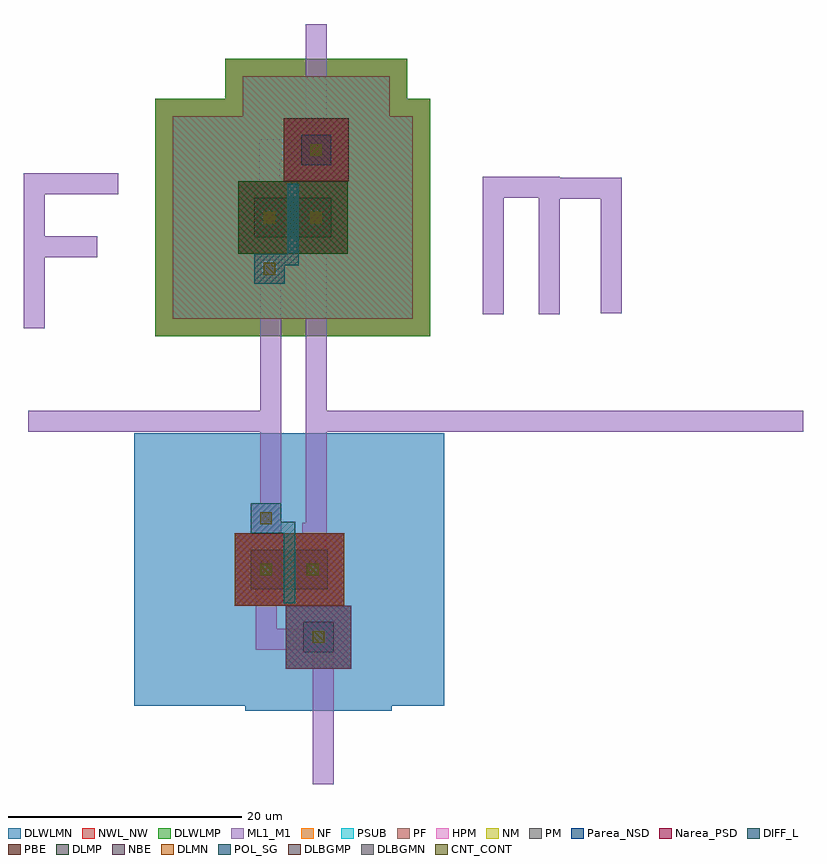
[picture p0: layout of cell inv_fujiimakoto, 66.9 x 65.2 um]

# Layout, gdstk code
import gdstk
lib = gdstk.Library(unit=1e-6, precision=1e-07)
def R(c, l, rs):  # rectangles x0, y0, x1, y1
    for r in rs: c.add(gdstk.rectangle(r[:2], r[2:], *l))
DIFF_L = (3, 0)
NM = (7, 0)
POL_SG = (8, 0)
Narea_PSD = (9, 0)
CNT_CONT = (11, 0)
ML1_M1 = (13, 0)
NF = (25, 0)
PF = (26, 0)
Parea_NSD = (28, 0)
HPM = (33, 0)
PM = (35, 0)
NWL_NW = (36, 0)
PSUB = (140, 0)
PBE = (146, 0)
NBE = (147, 0)
DLWLMP = (150, 0)
DLWLMN = (151, 0)
DLMP = (157, 0)
DLMN = (158, 0)
DLBGMP = (177, 0)
DLBGMN = (178, 0)

dcont = lib.new_cell('dcont')
R(dcont, DIFF_L, [(-1.3,-1.3,1.3,1.3)])
R(dcont, CNT_CONT, [(-0.5,-0.5,0.5,0.5)])
R(dcont, ML1_M1, [(-1.3,-1.3,1.3,1.3), (-0.5,-0.5,0.5,0.5)])

pcont = lib.new_cell('pcont')
R(pcont, POL_SG, [(-1.3,-1.3,1.3,1.3)])
R(pcont, CNT_CONT, [(-0.5,-0.5,0.5,0.5)])
R(pcont, ML1_M1, [(-1.3,-1.3,1.3,1.3), (-0.5,-0.5,0.5,0.5)])

c_dcont = lib.new_cell('DCONT')
R(c_dcont, DIFF_L, [(-1.3,-1.3,1.3,1.3)])
R(c_dcont, CNT_CONT, [(-0.5,-0.5,0.5,0.5)])
R(c_dcont, ML1_M1, [(-1.3,-1.3,1.3,1.3), (-0.5,-0.5,0.5,0.5)])

nsubcont = lib.new_cell('nsubcont')
R(nsubcont, NM, [(-2.8,-2.7,2.8,2.7)])
R(nsubcont, Narea_PSD, [(-2.8,-2.7,2.8,2.7)])
R(nsubcont, NF, [(-6.3,-6.3,6.3,6.3)])
R(nsubcont, PF, [(-6.3,-6.3,6.3,6.3)])
R(nsubcont, HPM, [(-2.8,-2.7,2.8,2.7)])
R(nsubcont, PM, [(-2.8,-2.7,2.8,2.7)])
R(nsubcont, NWL_NW, [(-7.8,-7.8,7.8,7.8)])
R(nsubcont, PSUB, [(-6.3,-6.3,6.3,6.3)])
R(nsubcont, DLWLMP, [(-7.8,-7.8,7.8,7.8)])
R(nsubcont, DLBGMP, [(-2.8,-2.7,2.8,2.7)])
nsubcont.add(gdstk.Reference(c_dcont, (0,0)))

mp_1 = lib.new_cell('MP$1')
R(mp_1, DIFF_L, [(0,3.6,6.6,7)])
R(mp_1, NM, [(-1.4,2.2,8,8.4)])
R(mp_1, NF, [(-7,-3.4,13.6,14)])
R(mp_1, PF, [(-7,-3.4,13.6,14)])
R(mp_1, Parea_NSD, [(-1.4,2.2,8,8.4)])
R(mp_1, HPM, [(-1.4,2.2,8,8.4)])
R(mp_1, NWL_NW, [(-8.5,-4.9,15.1,15.5)])
R(mp_1, PSUB, [(-7,-3.4,13.6,14)])
R(mp_1, PBE, [(-1.4,2.2,8,8.4)])
R(mp_1, DLWLMP, [(-8.5,-4.9,15.1,15.5)])
R(mp_1, DLMP, [(-1.4,2.2,8,8.4)])
mp_1.add(gdstk.FlexPath([(1.3,3.6),(1.3,7)], 2.6, ends="flush", simple_path=True, layer=13, datatype=0))  # ML1_M1
mp_1.add(gdstk.FlexPath([(5.3,3.6),(5.3,7)], 2.6, ends="flush", simple_path=True, layer=13, datatype=0))  # ML1_M1
mp_1.add(gdstk.FlexPath([(1.3,6),(1.3,9.3)], 1.8, ends="flush", simple_path=True, layer=13, datatype=0))  # ML1_M1
mp_1.add(gdstk.FlexPath([(5.3,1.3),(5.3,4.6)], 1.8, ends="flush", simple_path=True, layer=13, datatype=0))  # ML1_M1
mp_1.add(gdstk.FlexPath([(3.3,3.6),(3.3,7)], 1, ends=(1.2, 1.2), simple_path=True, layer=8, datatype=0))  # POL_SG
mp_1.add(gdstk.FlexPath([(1.3,1.7),(3.3,1.7),(3.3,2.4)], 1, ends="flush", simple_path=True, layer=8, datatype=0))  # POL_SG
mp_1.add(gdstk.Reference(dcont, (1.3,5.3)))
mp_1.add(gdstk.Reference(dcont, (5.3,5.3)))
mp_1.add(gdstk.Reference(pcont, (1.3,0.9)))
mp_1.add(gdstk.Reference(nsubcont, (5.3,11.1)))

psubcont = lib.new_cell('psubcont')
R(psubcont, NM, [(-2.8,-2.7,2.8,2.7)])
R(psubcont, Parea_NSD, [(-2.8,-2.7,2.8,2.7)])
R(psubcont, HPM, [(-2.8,-2.7,2.8,2.7)])
R(psubcont, PM, [(-2.8,-2.7,2.8,2.7)])
R(psubcont, DLWLMN, [(-6.3,-6.3,6.3,6.3)])
R(psubcont, DLBGMN, [(-2.8,-2.7,2.8,2.7)])
psubcont.add(gdstk.Reference(c_dcont, (0,0)))

mn_1 = lib.new_cell('MN$1')
R(mn_1, DIFF_L, [(0,3.6,6.6,7)])
R(mn_1, Narea_PSD, [(-1.4,2.2,8,8.4)])
R(mn_1, HPM, [(-1.4,2.2,8,8.4)])
R(mn_1, PM, [(-1.4,2.2,8,8.4)])
R(mn_1, NBE, [(-1.4,2.2,8,8.4)])
R(mn_1, DLWLMN, [(-10,-6.4,16.6,17)])
R(mn_1, DLMN, [(-1.4,2.2,8,8.4)])
mn_1.add(gdstk.FlexPath([(1.3,3.6),(1.3,7)], 2.6, ends="flush", simple_path=True, layer=13, datatype=0))  # ML1_M1
mn_1.add(gdstk.FlexPath([(5.3,3.6),(5.3,7)], 2.6, ends="flush", simple_path=True, layer=13, datatype=0))  # ML1_M1
mn_1.add(gdstk.FlexPath([(1.3,1.3),(1.3,4.6)], 1.8, ends="flush", simple_path=True, layer=13, datatype=0))  # ML1_M1
mn_1.add(gdstk.FlexPath([(5.3,6),(5.3,9.3)], 1.8, ends="flush", simple_path=True, layer=13, datatype=0))  # ML1_M1
mn_1.add(gdstk.FlexPath([(3.3,3.6),(3.3,7)], 1, ends=(1.2, 1.2), simple_path=True, layer=8, datatype=0))  # POL_SG
mn_1.add(gdstk.FlexPath([(1.3,8.9),(3.3,8.9),(3.3,8.2)], 1, ends="flush", simple_path=True, layer=8, datatype=0))  # POL_SG
mn_1.add(gdstk.Reference(dcont, (1.3,5.3)))
mn_1.add(gdstk.Reference(dcont, (5.3,5.3)))
mn_1.add(gdstk.Reference(pcont, (1.3,9.7)))
mn_1.add(gdstk.Reference(psubcont, (5.8,-0.5)))

inv_fujiimakoto = lib.new_cell('inv_fujiimakoto')
inv_fujiimakoto.add(gdstk.FlexPath([(0.6,7.9),(0.6,10.7),(4.6,10.7),(4.6,21.5)], 1.8, ends="flush", simple_path=True, layer=13, datatype=0))  # ML1_M1
inv_fujiimakoto.add(gdstk.FlexPath([(0.7,0.3),(0.7,-21.2),(1.4,-21.2)], 1.8, ends="flush", simple_path=True, layer=13, datatype=0))  # ML1_M1
inv_fujiimakoto.add(gdstk.FlexPath([(4.6,4.6),(4.6,-24.5)], 1.8, ends="flush", simple_path=True, layer=13, datatype=0))  # ML1_M1
inv_fujiimakoto.add(gdstk.FlexPath([(0.6,-12.6),(-20.1,-12.6)], 1.8, ends="flush", simple_path=True, layer=13, datatype=0))  # ML1_M1
inv_fujiimakoto.add(gdstk.FlexPath([(4.7,-12.6),(46.4,-12.6)], 1.8, ends="flush", simple_path=True, layer=13, datatype=0))  # ML1_M1
inv_fujiimakoto.add(gdstk.FlexPath([(0.3,-27.5),(0.3,-31.3),(5.2,-31.3),(5.2,-43.7)], 1.8, ends="flush", simple_path=True, layer=13, datatype=0))  # ML1_M1
inv_fujiimakoto.add(gdstk.FlexPath([(19.8,-3.4),(19.8,7.5),(24.6,7.5),(24.6,-3.4),(24.6,-3.4)], 1.8, ends="flush", simple_path=True, layer=13, datatype=0))  # ML1_M1
inv_fujiimakoto.add(gdstk.FlexPath([(29.9,-3.3),(29.9,7.4),(24.6,7.4)], 1.8, ends="flush", simple_path=True, layer=13, datatype=0))  # ML1_M1
inv_fujiimakoto.add(gdstk.FlexPath([(-19.6,-4.6),(-19.6,7.6)], 1.8, ends="flush", simple_path=True, layer=13, datatype=0))  # ML1_M1
inv_fujiimakoto.add(gdstk.FlexPath([(-12.4,7.8),(-20.5,7.8)], 1.8, ends="flush", simple_path=True, layer=13, datatype=0))  # ML1_M1
inv_fujiimakoto.add(gdstk.FlexPath([(-14.2,2.4),(-19.6,2.4)], 1.8, ends="flush", simple_path=True, layer=13, datatype=0))  # ML1_M1
inv_fujiimakoto.add(gdstk.Reference(mp_1, (-0.7,-0.4)))
inv_fujiimakoto.add(gdstk.Reference(mn_1, (-1,-30.6)))
inv_fujiimakoto.add(gdstk.Label('Q', (48.5,-13.4), layer=13, texttype=0))
inv_fujiimakoto.add(gdstk.Label('A', (-23.7,-12.5), layer=13, texttype=0))
inv_fujiimakoto.add(gdstk.Label('VSS', (7.7,-46.9), layer=13, texttype=0))
inv_fujiimakoto.add(gdstk.Label('VDD', (7.5,26.8), layer=13, texttype=0))

lib.write_gds('inv_fujiimakoto.gds')
